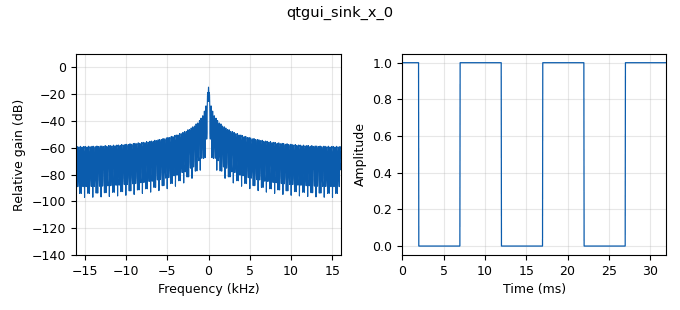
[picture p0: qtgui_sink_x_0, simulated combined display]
<?xml version='1.0' encoding='utf-8'?>
<?grc format='1' created='3.7.9'?>
<flow_graph>
<block>
<key>options</key>
<param><key>id</key><value>top_block</value></param>
<param><key>category</key><value>Custom</value></param>
<param><key>generate_options</key><value>qt_gui</value></param>
</block>
<block>
<key>variable_qtgui_range</key>
<param><key>id</key><value>dc</value></param>
<param><key>value</key><value>50</value></param>
<param><key>label</key><value>duty_cycle</value></param>
<param><key>orient</key><value>Qt.Horizontal</value></param>
<param><key>start</key><value>0</value></param>
<param><key>step</key><value>1</value></param>
<param><key>stop</key><value>100</value></param>
</block>
<block>
<key>variable_qtgui_range</key>
<param><key>id</key><value>f</value></param>
<param><key>value</key><value>100</value></param>
<param><key>label</key><value>frequency</value></param>
<param><key>orient</key><value>Qt.Horizontal</value></param>
<param><key>start</key><value>0</value></param>
<param><key>step</key><value>100</value></param>
<param><key>stop</key><value>10000</value></param>
</block>
<block>
<key>variable</key>
<param><key>id</key><value>k0</value></param>
<param><key>value</key><value>((100-dc)*samp_rate)/(f*100)</value></param>
</block>
<block>
<key>variable</key>
<param><key>id</key><value>k1</value></param>
<param><key>value</key><value>(dc*samp_rate)/(f*100)</value></param>
</block>
<block>
<key>variable</key>
<param><key>id</key><value>samp_rate</value></param>
<param><key>value</key><value>32000</value></param>
</block>
<block>
<key>blocks_throttle</key>
<param><key>id</key><value>blocks_throttle_0</value></param>
<param><key>samples_per_second</key><value>samp_rate</value></param>
<param><key>type</key><value>float</value></param>
</block>
<block>
<key>blocks_vector_source_x</key>
<param><key>id</key><value>blocks_vector_source_x_0</value></param>
<param><key>type</key><value>float</value></param>
<param><key>repeat</key><value>True</value></param>
<param><key>vector</key><value>hstack((zeros(k0), ones(k1)))</value></param>
</block>
<block>
<key>import</key>
<param><key>id</key><value>import_1</value></param>
<param><key>import</key><value>from numpy import *</value></param>
</block>
<block>
<key>qtgui_sink_x</key>
<param><key>id</key><value>qtgui_sink_x_0</value></param>
<param><key>bw</key><value>samp_rate</value></param>
<param><key>fc</key><value>0</value></param>
<param><key>freqchangevar</key><value>None</value></param>
<param><key>fftsize</key><value>1024</value></param>
<param><key>showports</key><value>True</value></param>
<param><key>type</key><value>float</value></param>
<param><key>wintype</key><value>firdes.WIN_BLACKMAN_hARRIS</value></param>
</block>
<connection><source_block_id>blocks_throttle_0</source_block_id><sink_block_id>qtgui_sink_x_0</sink_block_id><source_key>0</source_key><sink_key>0</sink_key></connection>
<connection><source_block_id>blocks_vector_source_x_0</source_block_id><sink_block_id>blocks_throttle_0</sink_block_id><source_key>0</source_key><sink_key>0</sink_key></connection>
</flow_graph>
